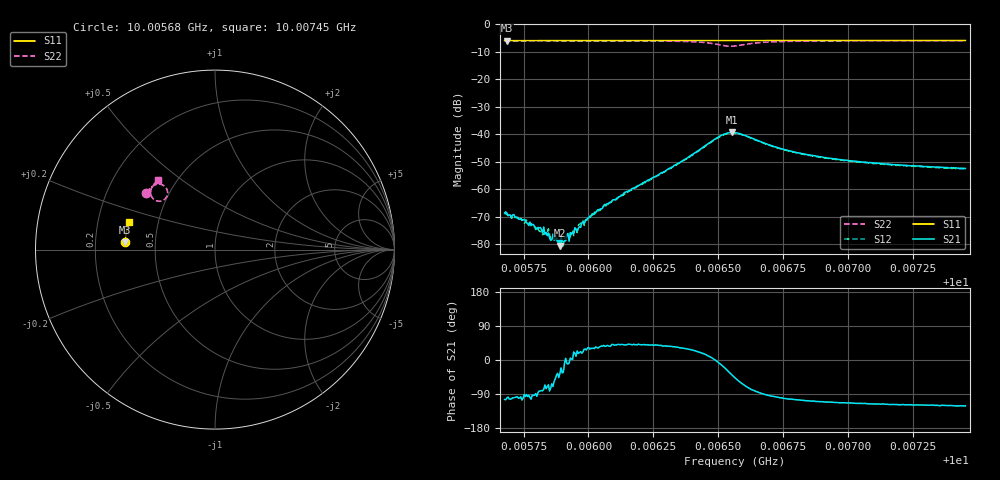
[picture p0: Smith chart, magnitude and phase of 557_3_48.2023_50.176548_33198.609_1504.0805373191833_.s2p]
#  HZ  S  RI  R  50.00
! Rohde & Schwarz Vector Network Analyzer
! Rohde-Schwarz,ZNB20-2Port,1311601062101988,3.16
! Created: UTC 3/20/2024, 12:01:02 PM
! freq[Hz]  re:S11  im:S11  re:S21  im:S21  re:S12  im:S12  re:S22  im:S22
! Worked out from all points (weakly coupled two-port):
!   401 points, 10.00568 GHz to 10.00745 GHz, reference 50 ohm
!   highest |S21| = -39.34 dB at 10.00655 GHz (marker M1); lowest = -80.5 dB at 10.00589 GHz (marker M2)
!   lowest |S11| = -6.0 dB at 10.00569 GHz (marker M3), VSWR 3.01, Z = 16.6 + j1.81 ohm
!   |S11| at or under -10 dB: nowhere
!   |S22| runs from -8.0 to -6.0 dB; largest |S21 - S12| = 0.00067
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1.0005677e10  -0.5 0.0403  -9.05e-05 -0.00036  -7.51e-05 -0.000356  -0.3832 0.3167
1.0005686e10  -0.4999 0.0408  -6.48e-05 -0.000365  -2.54e-05 -0.000348  -0.3828 0.317
1.0005739e10  -0.4998 0.0444  -3.64e-05 -0.000291  2.56e-06 -0.000297  -0.3803 0.3205
1.0005784e10  -0.4997 0.0472  -9.33e-06 -0.000231  2.34e-05 -0.000221  -0.3783 0.3231
1.0005819e10  -0.4994 0.0496  3.01e-05 -0.000185  4.34e-05 -0.000147  -0.3764 0.3254
1.0005841e10  -0.4994 0.0512  4.91e-05 -0.000135  4.46e-05 -0.000149  -0.3753 0.3267
1.000585e10  -0.4995 0.0517  1.91e-05 -0.000131  5.72e-05 -0.000143  -0.3747 0.3273
1.000589e10  -0.4992 0.0541  7.66e-05 -5.51e-05  0.000112 -3.82e-05  -0.3726 0.3298
1.0005903e10  -0.499 0.0551  9.37e-05 -5.85e-05  8.84e-05 -3.15e-05  -0.3718 0.3306
1.0005917e10  -0.4989 0.0559  0.000152 -2.27e-05  0.000144 5.92e-06  -0.3711 0.3314
1.0005952e10  -0.4987 0.0583  0.000188 3.24e-05  0.000173 8.04e-05  -0.369 0.3337
1.0005974e10  -0.4986 0.0598  0.000231 7.54e-05  0.000248 0.000103  -0.3678 0.3352
1.0006068e10  -0.4979 0.0658  0.000416 0.000307  0.000382 0.000321  -0.3616 0.3416
1.0006272e10  -0.4965 0.0791  0.00147 0.00116  0.00134 0.00121  -0.3412 0.357
1.0006503e10  -0.4936 0.0937  0.00897 -0.00117  0.00878 -0.000661  -0.2657 0.3294
1.0006552e10  -0.4931 0.0962  0.00845 -0.00671  0.00862 -0.00609  -0.2804 0.2808
1.0006565e10  -0.493 0.097  0.00728 -0.00783  0.0076 -0.00726  -0.2932 0.2729
1.0006636e10  -0.4927 0.1015  0.0014 -0.00816  0.00182 -0.00793  -0.347 0.2861
1.0006747e10  -0.4919 0.1087  -0.000972 -0.00533  -0.000694 -0.0053  -0.3586 0.3233
1.0006863e10  -0.4905 0.1161  -0.00129 -0.00391  -0.00111 -0.00389  -0.3531 0.343
1.000716e10  -0.4862 0.135  -0.00132 -0.00253  -0.00113 -0.00255  -0.3359 0.369
1.0007453e10  -0.4814 0.1533  -0.00123 -0.00205  -0.00112 -0.00204  -0.3202 0.3858
